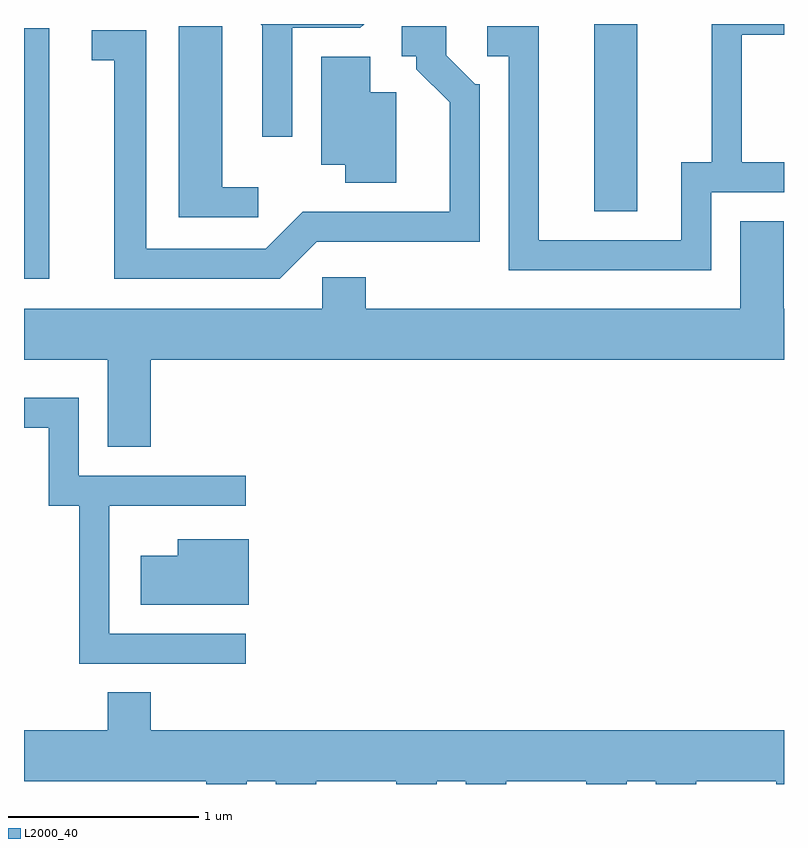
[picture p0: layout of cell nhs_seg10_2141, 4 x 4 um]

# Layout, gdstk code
import gdstk
lib = gdstk.Library(unit=1e-6, precision=1e-09)
def R(c, l, rs):  # rectangles x0, y0, x1, y1
    for r in rs: c.add(gdstk.rectangle(r[:2], r[2:], *l))
def P(c, l, *ps):  # polygons
    for p in ps: c.add(gdstk.Polygon(p, *l))
L2000_40 = (2000, 40)

nhs_seg10_2141 = lib.new_cell('nhs_seg10_2141')
R(nhs_seg10_2141, L2000_40, [(247.611,2163.181,247.744,2164.499), (250.611,2163.536,250.839,2164.522)])
P(nhs_seg10_2141, L2000_40, [(251.229,2163.636),(251.611,2163.636),(251.611,2163.794),(251.389,2163.794),(251.389,2164.466),(251.611,2164.466),(251.611,2164.522),(251.231,2164.522),(251.231,2163.794),(251.071,2163.794),(251.071,2163.384),(250.319,2163.384),(250.319,2164.509),(250.048,2164.509),(250.048,2164.351),(250.161,2164.351),(250.161,2163.226),(251.229,2163.226)],
  [(249.024,2164.501),(249.382,2164.501),(249.403,2164.522),(248.858,2164.522),(248.866,2164.514),(248.866,2163.928),(249.024,2163.928)],
  [(248.843,2163.664),(248.654,2163.664),(248.654,2164.509),(248.426,2164.509),(248.426,2163.506),(248.843,2163.506)],
  [(249.152,2163.376),(250.009,2163.376),(250.009,2164.204),(249.987,2164.204),(249.834,2164.357),(249.834,2164.509),(249.598,2164.509),(249.598,2164.351),(249.676,2164.351),(249.676,2164.284),(249.851,2164.109),(249.851,2163.534),(249.079,2163.534),(248.884,2163.339),(248.254,2163.339),(248.254,2164.489),(247.968,2164.489),(247.968,2164.331),(248.086,2164.331),(248.086,2163.181),(248.957,2163.181)],
  [(249.569,2164.164),(249.434,2164.164),(249.434,2164.349),(249.176,2164.349),(249.176,2163.781),(249.301,2163.781),(249.301,2163.686),(249.569,2163.686)],
  [(248.279,2162.756),(251.611,2162.756),(251.611,2163.024),(251.609,2163.024),(251.609,2163.484),(251.381,2163.484),(251.381,2163.024),(249.409,2163.024),(249.409,2163.189),(249.181,2163.189),(249.181,2163.024),(247.611,2163.024),(247.611,2162.756),(248.051,2162.756),(248.051,2162.296),(248.279,2162.296)],
  [(248.778,2161.314),(248.059,2161.314),(248.059,2161.986),(248.778,2161.986),(248.778,2162.144),(247.899,2162.144),(247.899,2162.554),(247.611,2162.554),(247.611,2162.396),(247.741,2162.396),(247.741,2161.986),(247.901,2161.986),(247.901,2161.156),(248.778,2161.156)],
  [(248.794,2161.809),(248.421,2161.809),(248.421,2161.724),(248.226,2161.724),(248.226,2161.466),(248.794,2161.466)],
  [(248.784,2160.536),(248.936,2160.536),(248.936,2160.522),(249.149,2160.522),(249.149,2160.536),(249.571,2160.536),(249.571,2160.522),(249.784,2160.522),(249.784,2160.536),(249.936,2160.536),(249.936,2160.522),(250.149,2160.522),(250.149,2160.536),(250.571,2160.536),(250.571,2160.522),(250.784,2160.522),(250.784,2160.536),(250.936,2160.536),(250.936,2160.522),(251.149,2160.522),(251.149,2160.536),(251.571,2160.536),(251.571,2160.522),(251.611,2160.522),(251.611,2160.804),(248.279,2160.804),(248.279,2161.004),(248.051,2161.004),(248.051,2160.804),(247.611,2160.804),(247.611,2160.536),(248.571,2160.536),(248.571,2160.522),(248.784,2160.522)])

lib.write_gds('nhs_seg10_2141.gds')
